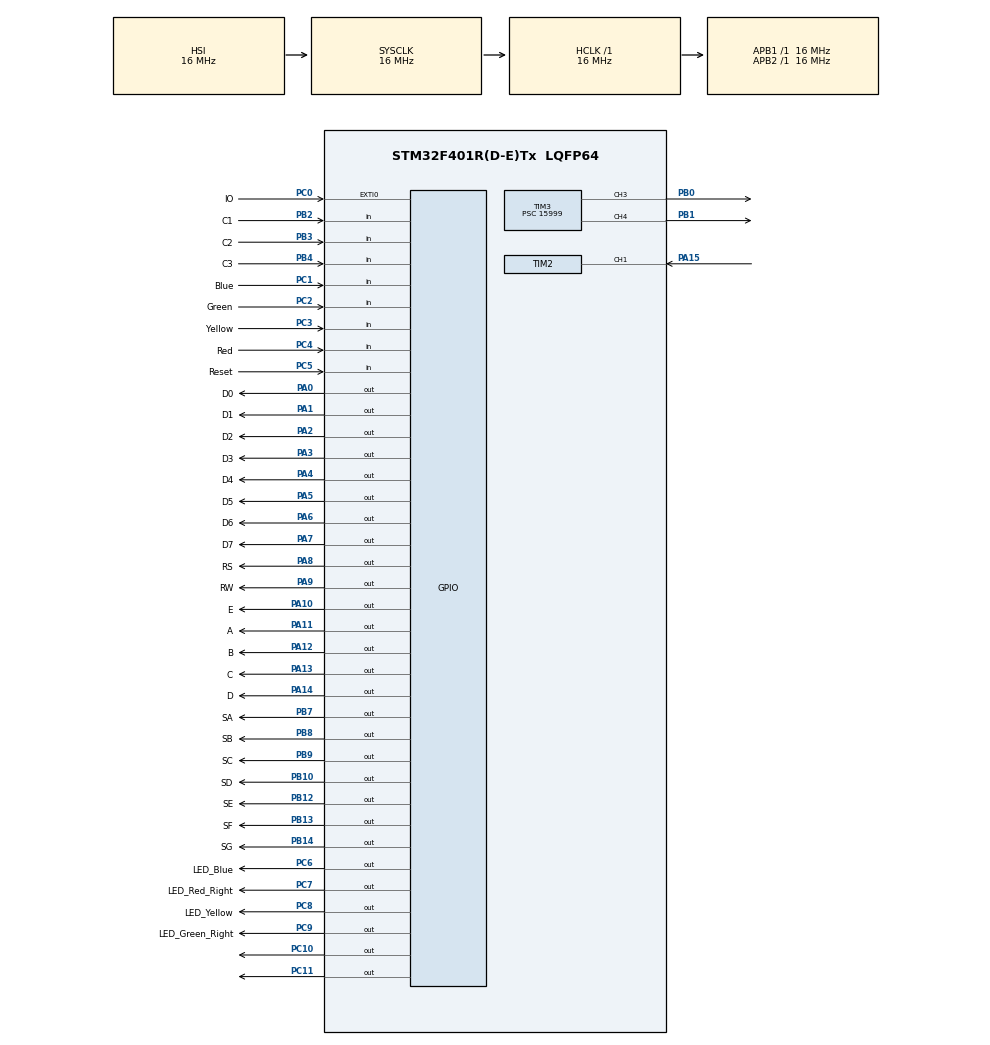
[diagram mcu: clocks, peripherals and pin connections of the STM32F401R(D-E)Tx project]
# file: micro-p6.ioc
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Mcu.Family=STM32F4
Mcu.Name=STM32F401R(D-E)Tx
Mcu.Package=LQFP64
NVIC.EXTI0_IRQn=true\:2\:0\:true\:false\:true\:true\:true\:true
NVIC.PriorityGroup=NVIC_PRIORITYGROUP_4
NVIC.TIM2_IRQn=true\:1\:0\:true\:false\:true\:true\:true\:true
NVIC.TIM3_IRQn=true\:0\:0\:true\:false\:true\:true\:true\:true
NVIC.TIM4_IRQn=true\:1\:0\:true\:false\:true\:true\:true\:true
PA0-WKUP.GPIO_Label=D0
PA0-WKUP.Signal=GPIO_Output
PA1.GPIO_Label=D1
PA1.Signal=GPIO_Output
PA10.GPIO_Label=E
PA10.Signal=GPIO_Output
PA11.GPIO_Label=A
PA11.Signal=GPIO_Output
PA12.GPIO_Label=B
PA12.Signal=GPIO_Output
PA13.GPIO_Label=C
PA13.Signal=GPIO_Output
PA14.GPIO_Label=D
PA14.Signal=GPIO_Output
PA15.GPIO_ModeDefaultPP=GPIO_MODE_AF_PP
PA15.GPIO_PuPd=GPIO_PULLDOWN
PA15.Signal=S_TIM2_CH1_ETR
PA2.GPIO_Label=D2
PA2.Signal=GPIO_Output
PA3.GPIO_Label=D3
PA3.Signal=GPIO_Output
PA4.GPIO_Label=D4
PA4.Signal=GPIO_Output
PA5.GPIO_Label=D5
PA5.Signal=GPIO_Output
PA6.GPIO_Label=D6
PA6.Signal=GPIO_Output
PA7.GPIO_Label=D7
PA7.Signal=GPIO_Output
PA8.GPIO_Label=RS
PA8.Signal=GPIO_Output
PA9.GPIO_Label=RW
PA9.Signal=GPIO_Output
PB0.GPIO_ModeDefaultPP=GPIO_MODE_AF_PP
PB0.GPIO_PuPd=GPIO_PULLDOWN
PB0.Signal=S_TIM3_CH3
PB1.GPIO_ModeDefaultPP=GPIO_MODE_AF_PP
PB1.GPIO_PuPd=GPIO_PULLDOWN
PB1.Signal=S_TIM3_CH4
PB10.GPIO_Label=SD
PB10.Signal=GPIO_Output
PB12.GPIO_Label=SE
PB12.Signal=GPIO_Output
PB13.GPIO_Label=SF
PB13.Signal=GPIO_Output
PB14.GPIO_Label=SG
PB14.Signal=GPIO_Output
PB2.GPIO_Label=C1
PB2.GPIO_PuPd=GPIO_PULLDOWN
PB2.Signal=GPIO_Input
PB3.GPIO_Label=C2
PB3.GPIO_PuPd=GPIO_PULLDOWN
PB3.Signal=GPIO_Input
PB4.GPIO_Label=C3
PB4.GPIO_PuPd=GPIO_PULLDOWN
PB4.Signal=GPIO_Input
PB7.GPIO_Label=SA
PB7.Signal=GPIO_Output
PB8.GPIO_Label=SB
PB8.Signal=GPIO_Output
PB9.GPIO_Label=SC
PB9.Signal=GPIO_Output
PC0.GPIO_Label=IO
PC0.GPIO_PuPd=GPIO_PULLDOWN
PC0.Signal=GPXTI0
PC1.GPIO_Label=Blue
PC1.GPIO_PuPd=GPIO_PULLDOWN
PC1.Signal=GPIO_Input
PC10.Signal=GPIO_Output
PC11.Signal=GPIO_Output
PC2.GPIO_Label=Green
PC2.GPIO_PuPd=GPIO_PULLDOWN
PC2.Signal=GPIO_Input
PC3.GPIO_Label=Yellow
PC3.GPIO_PuPd=GPIO_PULLDOWN
PC3.Signal=GPIO_Input
PC4.GPIO_Label=Red
PC4.GPIO_PuPd=GPIO_PULLDOWN
PC4.Signal=GPIO_Input
PC5.GPIO_Label=Reset
PC5.GPIO_PuPd=GPIO_NOPULL
PC5.Signal=GPIO_Input
PC6.GPIO_Label=LED_Blue
PC6.Signal=GPIO_Output
PC7.GPIO_Label=LED_Red_Right
PC7.Signal=GPIO_Output
PC8.GPIO_Label=LED_Yellow
PC8.Signal=GPIO_Output
PC9.GPIO_Label=LED_Green_Right
PC9.Signal=GPIO_Output
ProjectManager.HeapSize=0x200
ProjectManager.StackSize=0x400
ProjectManager.TargetToolchain=MDK-ARM V5.32
RCC.AHBFreq_Value=16000000
RCC.APB1Freq_Value=16000000
RCC.APB2Freq_Value=16000000
RCC.CortexFreq_Value=16000000
RCC.HSE_VALUE=25000000
RCC.HSI_VALUE=16000000
RCC.LSE_VALUE=32768
RCC.SYSCLKFreq_VALUE=16000000
RCC.VCOOutputFreq_Value=192000000
SH.S_TIM2_CH1_ETR.0=TIM2_CH1,Input_Capture1_from_TI1
SH.S_TIM3_CH3.0=TIM3_CH3,PWM Generation3 CH3
SH.S_TIM3_CH4.0=TIM3_CH4,PWM Generation4 CH4
TIM2.Channel-Input_Capture1_from_TI1=TIM_CHANNEL_1
TIM2.ICFilter_CH1=2
TIM2.ICPolarity_CH1=TIM_INPUTCHANNELPOLARITY_BOTHEDGE
TIM2.Period=999999
TIM2.Prescaler=15999
TIM3.Channel-PWM\ Generation3\ CH3=TIM_CHANNEL_3
TIM3.Channel-PWM\ Generation4\ CH4=TIM_CHANNEL_4
TIM3.Period=124
TIM3.Prescaler=15999
TIM3.Pulse-PWM\ Generation3\ CH3=60
TIM3.Pulse-PWM\ Generation4\ CH4=60
TIM4.Period=124
TIM4.Prescaler=15999
VP_TIM2_VS_ClockSourceINT.Mode=Internal
VP_TIM3_VS_ClockSourceINT.Mode=Internal
VP_TIM4_VS_ClockSourceINT.Mode=Internal
board=custom

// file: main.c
/* USER CODE BEGIN Header */
/**
  ******************************************************************************
  * @file           : main.c
  * @brief          : Main program body
  ******************************************************************************
  * @attention
  *
  * Copyright (c) 2022 STMicroelectronics.
  * All rights reserved.
  *
  * This software is licensed under terms that can be found in the LICENSE file
  * in the root directory of this software component.
  * If no LICENSE file comes with this software, it is provided AS-IS.
  *
  ******************************************************************************
  */
/* USER CODE END Header */
#include "main.h"

/* USER CODE BEGIN Includes */

#include <stdbool.h>
#include <time.h>
#include <stdlib.h>

//GPIOA  GPIOB  GPIOC
#define LED_GREEN_PWM (0)
#define LED_RED_PWM (1)
#define BLUE (1)
#define C1 (2)
#define  GREEN (2)
#define C2 (3)
#define  YELLOW (3)
#define C3 (4)
#define RED (4)
#define RESET (5)
#define LED_BLUE (6)
#define SA (7)
#define LED_GREEN (7)
#define SB (8)
#define LED_YELLOW (8)
#define RS (8)
#define SC (9)
#define LED_RED (9)
#define RW (9)
#define SD (10)
#define E  (10)
#define GREEN_PWM_ENABLE (10)
#define RED_PWM_ENABLE (11)
#define A (11)
#define SE (12)
#define B (12)
#define SF (13)
#define C (13)
#define SG (14)
#define D (14)
#define RESET_IC (15)
#define MASK(x)   (1UL << (x))

static bool printedEND_OF_GAMEType = false;
volatile static unsigned int zero_counter = 0;
const uint16_t timeOfGame = 60, numberOfAllowedMisses = 3;
enum State { START,
							PRINTING_NAME,
							RUNNING,
							END_OF_GAME };
enum END_OF_GAMEType {  PLAYING,
												WIN,
												LOOSE};
volatile enum State gameState = START;
volatile enum END_OF_GAMEType END_OF_GAMEType = PLAYING;
volatile char inputID[8] ,currentColor='b';
volatile uint16_t misses = 0, inputIDIndex = 0, remainingTime = timeOfGame, currentRow = 0;
char showingName[30];
uint32_t count = 0;
bool errorPassed = false;
uint32_t lastCaptured = 0;

void clearFirstLine();
int32_t charToInt(char ch);
char intToChar(int32_t digit);
void printInLine(char* string);
void printNum(int N);
void init_lcd();
void delay(uint16_t ms);
void commitCommand(unsigned char command);
void commitChar(char data);
uint16_t sevenSegment(uint16_t value);
void loose();
void win();

/* USER CODE END Includes */

 TIM_HandleTypeDef htim2;
TIM_HandleTypeDef htim3;
TIM_HandleTypeDef htim4;

void SystemClock_Config(void);
static void MX_GPIO_Init(void);
static void MX_TIM2_Init(void);
static void MX_TIM3_Init(void);
static void MX_TIM4_Init(void);

/* USER CODE BEGIN 0 */
uint16_t sevenSegment(uint16_t value) {
	if(value == 0){
		return MASK(SA) | MASK(SB) | MASK(SC) | MASK(SD) | MASK(SE) | MASK(SF);}
	else if (value==1){
		return MASK(SB) | MASK(SC);}
	else if (value==2){
		return MASK(SA) | MASK(SB) | MASK(SD) | MASK(SE) | MASK(SG);}
	else if (value==3){
		return MASK(SA) | MASK(SB) | MASK(SC) | MASK(SD) | MASK(SG);}
	else if (value==4){
		return MASK(SB) | MASK(SC) | MASK(SF) | MASK(SG);}
	else if (value==5){
		return MASK(SA) | MASK(SC) | MASK(SD) | MASK(SF) | MASK(SG);}
	else if (value==6){
		return MASK(SA) | MASK(SC) | MASK(SD) | MASK(SE) | MASK(SF) | MASK(SG);}
	else if (value==7){
		return MASK(SA) | MASK(SB) | MASK(SC);}
	else if (value== 8 ){
		return MASK(SA) | MASK(SB) | MASK(SC) | MASK(SD) | MASK(SE) | MASK(SF) | MASK(SG);}
	else if (value==9){
		return MASK(SA) | MASK(SB) | MASK(SC) | MASK(SD) | MASK(SF) | MASK(SG);}
	else{
		return MASK(SA) | MASK(SB) | MASK(SC) | MASK(SD) | MASK(SE) | MASK(SF);}
}
void clearFirstLine(){
	commitCommand(0x80);
	printInLine("                ");
}

void commitCommand(unsigned char command){  //Committing commands or chars

	HAL_GPIO_WritePin(GPIOA, 0xFF, GPIO_PIN_RESET);
	HAL_GPIO_WritePin(GPIOA, MASK(RS) | MASK(RW), GPIO_PIN_RESET);
	HAL_GPIO_WritePin(GPIOA, MASK(E) | command, GPIO_PIN_SET);
	HAL_GPIO_WritePin(GPIOA, MASK(E), GPIO_PIN_RESET);
	if(command < 4)
		delay(2);
	else
		delay(1);
}
void commitChar(char data){
	HAL_GPIO_WritePin(GPIOA, 0xFF | MASK(RW), GPIO_PIN_RESET);
	HAL_GPIO_WritePin(GPIOA, MASK(E) | MASK(RS) | data , GPIO_PIN_SET);
	HAL_GPIO_WritePin(GPIOA, MASK(E) , GPIO_PIN_RESET);
	delay(1);
}
void init_lcd(){ // turn on lcd
	commitCommand(0x0C);
	commitCommand(0x38);
}
void clearLEDs(){
	HAL_GPIO_WritePin(GPIOC, MASK(LED_GREEN) | MASK(LED_RED) |MASK(LED_YELLOW) | MASK(LED_BLUE) , GPIO_PIN_RESET);
}
void printInLine(char* string){
	while(*string != '\0'){
		char ch = (char) (*string);
		commitChar(ch);
		string++;
	}
	commitCommand(0x80);
}

int32_t charToInt(char ch){
	if(ch=='0'){
		return 0;
	}
	if(ch=='1'){
		return 1;
	}
	if(ch=='2'){
		return 2;
	}
	if(ch=='3'){
		return 3;
	}
	if(ch=='4'){
		return 4;
	}
	if(ch=='5'){
		return 5;
	}
	if(ch=='6'){
		return 6;
	}
	if(ch=='7'){
		return 7;
	}
	if(ch=='8'){
		return 8;
	}
	if(ch=='9'){
		return 9;
	}
	return 0;
}

char intToChar(int32_t dig){

	if(dig==0){
		return '0';
	}
	if(dig==1){
		return '1';
	}
	if(dig==2){
		return '2';
	}
	if(dig==3){
		return '3';
	}
	if(dig==4){
		return '4';
	}
	if(dig==5){
		return '5';
	}
	if(dig==6){
		return '6';
	}
	if(dig==7){
		return '7';
	}
	if(dig==8){
		return '8';
	}
	if(dig==9){
		return '9';
	}
	return '0';
}

void delay(uint16_t n){  // Make Delay
    for(int i = 0; i < n; i++){
			for(int j = 0; j < 200 ;j++);
		}
}
void delayms(uint16_t ms){
	uint32_t start = HAL_GetTick();
	while( (HAL_GetTick() - start) < ms);
}

 int reverse( int a){
	long long int reversed = 0;
	zero_counter = 0;
	while(a % 10 == 0){
		a/=10;
		zero_counter++;
	}
	for(;a > 0;a/=10){
			reversed*=10;
			reversed+=a%10;
		}
	return reversed;
}

void printNum(int num){
	if(num==0){
		commitChar('0');
		return;
	}else if(num < 0){
		commitChar('-');
		num *= -1;

	}
	int reversedNumber= reverse(num);
	for(;reversedNumber > 0;reversedNumber/=10){
				commitChar(reversedNumber%10 + '0');
		}
		while(zero_counter > 0){
				commitChar('0');
				zero_counter--;
		}
}
void setName(char* name){
	  uint16_t index = 0;
		while(*name != '\0'){
		showingName[index++] = (char) (*name);
		name++;
	}
}
char clickKeyPadBtn(){
		if( HAL_GPIO_ReadPin( GPIOB, MASK(C1)) == GPIO_PIN_SET) {
			while(( HAL_GPIO_ReadPin( GPIOB, MASK(C1)) == GPIO_PIN_SET));
			switch(currentRow) {
				case 0:
					return '1';
				case 1:
					return '4';
				case 2:
					return '7';
				case 3:
					return '*';
				default:
					return '!';
			}
		}
		else if(HAL_GPIO_ReadPin( GPIOB, MASK(C2)) == GPIO_PIN_SET){
			while(( HAL_GPIO_ReadPin( GPIOB, MASK(C2)) == GPIO_PIN_SET));
			switch(currentRow) {
				case 0:
					return '2';
				case 1:
					return '5';
				case 2:
					return '8';
				case 3:
					return '0';
				default:
					return '!';
			}
		}
		else if(HAL_GPIO_ReadPin( GPIOB, MASK(C3)) == GPIO_PIN_SET){
			while(( HAL_GPIO_ReadPin( GPIOB, MASK(C3)) == GPIO_PIN_SET));
			switch(currentRow) {
				case 0:
					return '3';
				case 1:
					return '6';
				case 2:
					return '9';
				case 3:
					return '#';
				default:
					return '!';
			}
		}
		else { // RESET has been clicked
			if (HAL_GPIO_ReadPin( GPIOC, MASK(RESET)) == GPIO_PIN_SET){
					uint32_t start = HAL_GetTick();
					uint32_t delay = 300;
					bool long_push = true;
					while( (HAL_GetTick() - start) < delay){
							if(HAL_GPIO_ReadPin( GPIOC, MASK(RESET)) == GPIO_PIN_RESET){
								long_push = false;
								break;
							}

						if(!long_push)
							break;
					}

					if(long_push)
						return 'l';
					else
						return 'e';

			}

		}
}

// reset all program states & vars.
void resetTheProgram(){
	END_OF_GAMEType = PLAYING;
	HAL_TIM_PWM_Stop(&htim3, TIM_CHANNEL_4);
	HAL_TIM_PWM_Stop(&htim3, TIM_CHANNEL_3);
	HAL_GPIO_WritePin(GPIOC, MASK(RED_PWM_ENABLE), GPIO_PIN_RESET);
	HAL_GPIO_WritePin(GPIOC, MASK(GREEN_PWM_ENABLE), GPIO_PIN_RESET);
	gameState = START;
	clearFirstLine();
	clearLEDs();
	remainingTime = timeOfGame;
	misses= count= inputIDIndex = 0;
	//Show misses
	HAL_GPIO_WritePin( GPIOB, 0xFF << 7, GPIO_PIN_RESET);
	HAL_GPIO_WritePin( GPIOB, sevenSegment(misses), GPIO_PIN_SET);

	commitCommand(0x80);
	MX_TIM3_Init();
	HAL_TIM_Base_Start_IT(&htim3);
}

void showColor(char color){
	if(color == 'g'){ // show green color on leds.
			HAL_GPIO_WritePin(GPIOC, MASK(LED_BLUE) | MASK(LED_RED) |MASK(LED_YELLOW) , GPIO_PIN_RESET);
			HAL_GPIO_WritePin(GPIOC, MASK(LED_GREEN), GPIO_PIN_SET);
	}else if(color == 'y'){// show yellow color on leds.
			HAL_GPIO_WritePin(GPIOC, MASK(LED_BLUE) | MASK(LED_RED) |MASK(LED_GREEN) , GPIO_PIN_RESET);
			HAL_GPIO_WritePin(GPIOC, MASK(LED_YELLOW), GPIO_PIN_SET);
	}else if(color == 'b'){// show blue color on leds.
			HAL_GPIO_WritePin(GPIOC, MASK(LED_GREEN) | MASK(LED_RED) |MASK(LED_YELLOW) , GPIO_PIN_RESET);
			HAL_GPIO_WritePin(GPIOC, MASK(LED_BLUE), GPIO_PIN_SET);
	}else if (color =='r'){// show red color on leds.
			HAL_GPIO_WritePin(GPIOC, MASK(LED_BLUE) | MASK(LED_GREEN) |MASK(LED_YELLOW) , GPIO_PIN_RESET);
			HAL_GPIO_WritePin(GPIOC, MASK(LED_RED), GPIO_PIN_SET);
	}
}

char clickedLED(){
	if( HAL_GPIO_ReadPin( GPIOC, MASK(BLUE)) == GPIO_PIN_SET)
		return 'b';
	else if (HAL_GPIO_ReadPin( GPIOC, MASK(GREEN)) == GPIO_PIN_SET)
		return 'r';
	else if (HAL_GPIO_ReadPin( GPIOC, MASK(YELLOW)) == GPIO_PIN_SET)
		return 'y';
	else if (HAL_GPIO_ReadPin( GPIOC, MASK(RED)) == GPIO_PIN_SET)
		return 'g';
}

char generateRandomColor(){
	int val = (int) rand() % 4;
	int val2 = 0;
	switch(currentColor){
		case 'b':
			val2 = 0;break;
		case 'y':
			val2 = 1;break;
		case 'g' :
			val2 = 2;break;
		case 'r':
			val2 = 3;break;
	}
	if(val == val2){ // Different color
		val = (val+1) % 4;
	}
	switch(val){
		case 0:
			currentColor= 'b';break;
		case 1:
			currentColor= 'y';break;
		case 2:
			currentColor= 'g'; break;
		case 3:
			currentColor= 'r';break;
	}
	return currentColor;
}

void checkingAndShowStatus(uint16_t delayms){
	if( gameState != RUNNING)
		return;
	bool passed = false;
	char rand = generateRandomColor();
	showColor(rand);
	uint32_t start = HAL_GetTick();
	while( (HAL_GetTick() - start) < delayms){
		if(clickedLED() == rand)
			passed = true;
	}
	if(!passed){
		misses++;

		//show misses
		HAL_GPIO_WritePin( GPIOB, 0xFF << 7, GPIO_PIN_RESET);
		HAL_GPIO_WritePin( GPIOB, sevenSegment(misses), GPIO_PIN_SET);

		if(misses >= numberOfAllowedMisses){
			loose();
		}
	}
}

void runGame(){
	checkingAndShowStatus(3000/8);
	checkingAndShowStatus(3000/8);
	checkingAndShowStatus(3000/8);
	checkingAndShowStatus(2000/8);
	checkingAndShowStatus(2000/8);
	checkingAndShowStatus(2000/8);
	uint16_t delay = 1000;
		while(time>0) {
			if(gameState != RUNNING)
				break;
			for(int i=0; i < 10; i++)
				checkingAndShowStatus(delay/8);
			delay -= 100;
		}
}

void HAL_GPIO_EXTI_Callback(uint16_t GPIO_Pin){
	if(GPIO_PIN_0) {
			char clickedButton = clickKeyPadBtn();
			if( gameState != START ){
				if(clickedButton == '1' || clickedButton == '*')
					resetTheProgram();
			}
			else{
				if( clickedButton != 'e')
					inputID[inputIDIndex++] = clickedButton;
				if(inputIDIndex == 8){
					clearFirstLine();
					commitCommand(0x80);
					if(inputID[0] == '9' && inputID[1] == '7'
						&& inputID[2] == '2' && inputID[3] == '4'
						&& inputID[4] == '3'&& inputID[5] == '0'
						&& inputID[6] == '6' && inputID[7] == '3')
						setName("Moradi Jam");
				  else if(inputID[0] == '9' && inputID[1] == '8'
									&& inputID[2] == '2' && inputID[3] == '4'
									&& inputID[4] == '3' && inputID[5] == '0'
									&& inputID[6] == '5' && inputID[7] == '8')
						setName("Mousavi");

					gameState = PRINTING_NAME;
				}
				else if( clickedButton != 'e')
						commitChar(clickedButton);

			}
	}
}

void win(){
	if(END_OF_GAMEType == LOOSE)
		return;
	END_OF_GAMEType = WIN;
	clearLEDs();
	gameState = END_OF_GAME;
	HAL_TIM_PWM_Start(&htim3, TIM_CHANNEL_4);
	HAL_GPIO_WritePin(GPIOC, MASK(GREEN_PWM_ENABLE), GPIO_PIN_SET);
	clearFirstLine();
	//printInLine("Winner");
}

void loose(){
	if(END_OF_GAMEType == WIN)
		return;
	END_OF_GAMEType = LOOSE;
	clearLEDs();
	gameState = END_OF_GAME;
	HAL_TIM_PWM_Start(&htim3, TIM_CHANNEL_3);
	HAL_GPIO_WritePin(GPIOC, MASK(RED_PWM_ENABLE), GPIO_PIN_SET);
	clearFirstLine();
	//printInLine("Looser");
}

void HAL_TIM_PeriodElapsedCallback(TIM_HandleTypeDef *htim){
	// decrementing time and checking win-conditions
	if( htim->Instance == TIM3){
		if( gameState == RUNNING) {
			clearFirstLine();
			remainingTime--;
			if(remainingTime >0){
				printNum(remainingTime);
			}
			else {
				if(misses == numberOfAllowedMisses )
						loose();
				else
						win();
			}
		} else if(gameState == END_OF_GAME){
      if(END_OF_GAMEType == WIN){
        if(printedEND_OF_GAMEType)
					clearFirstLine();
				else
					printInLine("Winner");
				printedEND_OF_GAMEType = !printedEND_OF_GAMEType;
      }else{
        if(printedEND_OF_GAMEType)
        clearFirstLine();
      else
        printInLine("Looser");
      printedEND_OF_GAMEType = !printedEND_OF_GAMEType;
      }
    }
	}

	// for toggling name
	if( htim->Instance == TIM4) {
		if( gameState == PRINTING_NAME){
			static bool printed = false;
			if(printed)
				clearFirstLine();
			else
				printInLine(showingName);
			printed = !printed;
		}
	}

}

void HAL_TIM_IC_CaptureCallback(TIM_HandleTypeDef *htim){
	if( !errorPassed){
		errorPassed = true;
		return;
	}
	if( gameState != PRINTING_NAME)
		return;

	count++;
	// first and third edges (rising)
	if(count == 1 ){
		lastCaptured = HAL_TIM_ReadCapturedValue(htim, TIM_CHANNEL_1);
	}
	// second edge  (falling)
	else if(count == 2){
		uint32_t currentCaptured = HAL_TIM_ReadCapturedValue(htim, TIM_CHANNEL_1);
		if( currentCaptured - lastCaptured < 2000/16)
			count = 0;
			lastCaptured = 0;
	}
	else if(count == 3){
		lastCaptured = HAL_TIM_ReadCapturedValue(htim, TIM_CHANNEL_1);
	}
	// check wether appropriate pulse has been seen or not.
	else if(count == 4) {
		uint32_t currentCaptured = HAL_TIM_ReadCapturedValue(htim, TIM_CHANNEL_1);
		if( currentCaptured - lastCaptured >= 2000/16)
		 {
			count = 0;
			currentRow = 3;
			lastCaptured = 0;
			gameState = RUNNING;
			HAL_GPIO_WritePin(GPIOA, MASK(D), GPIO_PIN_SET);
			HAL_GPIO_WritePin(GPIOA, MASK(A)|MASK(B)|MASK(C) , GPIO_PIN_RESET);
			remainingTime = timeOfGame;
			runGame();
		}
		else
			count = 0;
			lastCaptured = 0;
	}

}

/* USER CODE END 0 */

int main(void)
{

  /* MCU Configuration--------------------------------------------------------*/

  /* Reset of all peripherals, Initializes the Flash interface and the Systick. */
  HAL_Init();

  /* Configure the system clock */
  SystemClock_Config();

  /* Initialize all configured peripherals */
  MX_GPIO_Init();
  MX_TIM2_Init();
  MX_TIM3_Init();
  MX_TIM4_Init();
  /* USER CODE BEGIN 2 */
			init_lcd();
		HAL_NVIC_SetPriority(SysTick_IRQn, 0, 0);
		HAL_TIM_IC_Start_IT(&htim2, TIM_CHANNEL_1);
		HAL_TIM_Base_Start_IT(&htim2);
		HAL_TIM_Base_Start_IT(&htim3);
		HAL_TIM_Base_Start_IT(&htim4);

		HAL_GPIO_WritePin( GPIOB, sevenSegment(misses), GPIO_PIN_SET);
		uint16_t rows[] = { A, B, C, D};
  /* USER CODE END 2 */

  /* Infinite loop */
  /* USER CODE BEGIN WHILE */
  while (1)
  {
		HAL_GPIO_WritePin(GPIOA, MASK(rows[currentRow]), GPIO_PIN_RESET);
		currentRow = (currentRow+1)% 4;
		HAL_GPIO_WritePin(GPIOA, MASK(rows[currentRow]), GPIO_PIN_SET);
		delay(180);
    /* USER CODE END WHILE */

  }
}

void SystemClock_Config(void)
{
  RCC_OscInitTypeDef RCC_OscInitStruct = {0};
  RCC_ClkInitTypeDef RCC_ClkInitStruct = {0};

  /** Configure the main internal regulator output voltage
  */
  __HAL_RCC_PWR_CLK_ENABLE();
  __HAL_PWR_VOLTAGESCALING_CONFIG(PWR_REGULATOR_VOLTAGE_SCALE2);

  /** Initializes the RCC Oscillators according to the specified parameters
  * in the RCC_OscInitTypeDef structure.
  */
  RCC_OscInitStruct.OscillatorType = RCC_OSCILLATORTYPE_HSI;
  RCC_OscInitStruct.HSIState = RCC_HSI_ON;
  RCC_OscInitStruct.HSICalibrationValue = RCC_HSICALIBRATION_DEFAULT;
  RCC_OscInitStruct.PLL.PLLState = RCC_PLL_NONE;
  if (HAL_RCC_OscConfig(&RCC_OscInitStruct) != HAL_OK)
  {
    Error_Handler();
  }

  /** Initializes the CPU, AHB and APB buses clocks
  */
  RCC_ClkInitStruct.ClockType = RCC_CLOCKTYPE_HCLK|RCC_CLOCKTYPE_SYSCLK
                              |RCC_CLOCKTYPE_PCLK1|RCC_CLOCKTYPE_PCLK2;
  RCC_ClkInitStruct.SYSCLKSource = RCC_SYSCLKSOURCE_HSI;
  RCC_ClkInitStruct.AHBCLKDivider = RCC_SYSCLK_DIV1;
  RCC_ClkInitStruct.APB1CLKDivider = RCC_HCLK_DIV1;
  RCC_ClkInitStruct.APB2CLKDivider = RCC_HCLK_DIV1;

  if (HAL_RCC_ClockConfig(&RCC_ClkInitStruct, FLASH_LATENCY_0) != HAL_OK)
  {
    Error_Handler();
  }
}

static void MX_TIM2_Init(void)
{

  TIM_ClockConfigTypeDef sClockSourceConfig = {0};
  TIM_MasterConfigTypeDef sMasterConfig = {0};
  TIM_IC_InitTypeDef sConfigIC = {0};

  htim2.Instance = TIM2;
  htim2.Init.Prescaler = 15999;
  htim2.Init.CounterMode = TIM_COUNTERMODE_UP;
  htim2.Init.Period = 999999;
  htim2.Init.ClockDivision = TIM_CLOCKDIVISION_DIV1;
  htim2.Init.AutoReloadPreload = TIM_AUTORELOAD_PRELOAD_DISABLE;
  if (HAL_TIM_Base_Init(&htim2) != HAL_OK)
  {
    Error_Handler();
  }
  sClockSourceConfig.ClockSource = TIM_CLOCKSOURCE_INTERNAL;
  if (HAL_TIM_ConfigClockSource(&htim2, &sClockSourceConfig) != HAL_OK)
  {
    Error_Handler();
  }
  if (HAL_TIM_IC_Init(&htim2) != HAL_OK)
  {
    Error_Handler();
  }
  sMasterConfig.MasterOutputTrigger = TIM_TRGO_RESET;
  sMasterConfig.MasterSlaveMode = TIM_MASTERSLAVEMODE_DISABLE;
  if (HAL_TIMEx_MasterConfigSynchronization(&htim2, &sMasterConfig) != HAL_OK)
  {
    Error_Handler();
  }
  sConfigIC.ICPolarity = TIM_INPUTCHANNELPOLARITY_BOTHEDGE;
  sConfigIC.ICSelection = TIM_ICSELECTION_DIRECTTI;
  sConfigIC.ICPrescaler = TIM_ICPSC_DIV1;
  sConfigIC.ICFilter = 2;
  if (HAL_TIM_IC_ConfigChannel(&htim2, &sConfigIC, TIM_CHANNEL_1) != HAL_OK)
  {
    Error_Handler();
  }

}

static void MX_TIM3_Init(void)
{

  TIM_ClockConfigTypeDef sClockSourceConfig = {0};
  TIM_MasterConfigTypeDef sMasterConfig = {0};
  TIM_OC_InitTypeDef sConfigOC = {0};

  htim3.Instance = TIM3;
  htim3.Init.Prescaler = 15999;
  htim3.Init.CounterMode = TIM_COUNTERMODE_UP;
  htim3.Init.Period = 124;
  htim3.Init.ClockDivision = TIM_CLOCKDIVISION_DIV1;
  htim3.Init.AutoReloadPreload = TIM_AUTORELOAD_PRELOAD_DISABLE;
  if (HAL_TIM_Base_Init(&htim3) != HAL_OK)
  {
    Error_Handler();
  }
  sClockSourceConfig.ClockSource = TIM_CLOCKSOURCE_INTERNAL;
  if (HAL_TIM_ConfigClockSource(&htim3, &sClockSourceConfig) != HAL_OK)
  {
    Error_Handler();
  }
  if (HAL_TIM_PWM_Init(&htim3) != HAL_OK)
  {
    Error_Handler();
  }
  sMasterConfig.MasterOutputTrigger = TIM_TRGO_RESET;
  sMasterConfig.MasterSlaveMode = TIM_MASTERSLAVEMODE_DISABLE;
  if (HAL_TIMEx_MasterConfigSynchronization(&htim3, &sMasterConfig) != HAL_OK)
  {
    Error_Handler();
  }
  sConfigOC.OCMode = TIM_OCMODE_PWM1;
  sConfigOC.Pulse = 60;
  sConfigOC.OCPolarity = TIM_OCPOLARITY_HIGH;
  sConfigOC.OCFastMode = TIM_OCFAST_DISABLE;
  if (HAL_TIM_PWM_ConfigChannel(&htim3, &sConfigOC, TIM_CHANNEL_3) != HAL_OK)
  {
    Error_Handler();
  }
  if (HAL_TIM_PWM_ConfigChannel(&htim3, &sConfigOC, TIM_CHANNEL_4) != HAL_OK)
  {
    Error_Handler();
  }
  HAL_TIM_MspPostInit(&htim3);

}

static void MX_TIM4_Init(void)
{

  TIM_ClockConfigTypeDef sClockSourceConfig = {0};
  TIM_MasterConfigTypeDef sMasterConfig = {0};

  htim4.Instance = TIM4;
  htim4.Init.Prescaler = 15999;
  htim4.Init.CounterMode = TIM_COUNTERMODE_UP;
  htim4.Init.Period = 124;
  htim4.Init.ClockDivision = TIM_CLOCKDIVISION_DIV1;
  htim4.Init.AutoReloadPreload = TIM_AUTORELOAD_PRELOAD_DISABLE;
  if (HAL_TIM_Base_Init(&htim4) != HAL_OK)
  {
    Error_Handler();
  }
  sClockSourceConfig.ClockSource = TIM_CLOCKSOURCE_INTERNAL;
  if (HAL_TIM_ConfigClockSource(&htim4, &sClockSourceConfig) != HAL_OK)
  {
    Error_Handler();
  }
  sMasterConfig.MasterOutputTrigger = TIM_TRGO_RESET;
  sMasterConfig.MasterSlaveMode = TIM_MASTERSLAVEMODE_DISABLE;
  if (HAL_TIMEx_MasterConfigSynchronization(&htim4, &sMasterConfig) != HAL_OK)
  {
    Error_Handler();
  }

}

static void MX_GPIO_Init(void)
{
  GPIO_InitTypeDef GPIO_InitStruct = {0};

  /* GPIO Ports Clock Enable */
  __HAL_RCC_GPIOC_CLK_ENABLE();
  __HAL_RCC_GPIOA_CLK_ENABLE();
  __HAL_RCC_GPIOB_CLK_ENABLE();

  /*Configure GPIO pin Output Level */
  HAL_GPIO_WritePin(GPIOA, D0_Pin|D1_Pin|D2_Pin|D3_Pin
                          |D4_Pin|D5_Pin|D6_Pin|D7_Pin
                          |RS_Pin|RW_Pin|E_Pin|A_Pin
                          |B_Pin|C_Pin|D_Pin, GPIO_PIN_RESET);

  /*Configure GPIO pin Output Level */
  HAL_GPIO_WritePin(GPIOB, SD_Pin|SE_Pin|SF_Pin|SG_Pin
                          |SA_Pin|SB_Pin|SC_Pin, GPIO_PIN_RESET);

  /*Configure GPIO pin Output Level */
  HAL_GPIO_WritePin(GPIOC, LED_Blue_Pin|LED_Red_Right_Pin|LED_Yellow_Pin|LED_Green_Right_Pin
                          |GPIO_PIN_10|GPIO_PIN_11, GPIO_PIN_RESET);

  /*Configure GPIO pin : IO_Pin */
  GPIO_InitStruct.Pin = IO_Pin;
  GPIO_InitStruct.Mode = GPIO_MODE_IT_RISING;
  GPIO_InitStruct.Pull = GPIO_PULLDOWN;
  HAL_GPIO_Init(IO_GPIO_Port, &GPIO_InitStruct);

  /*Configure GPIO pins : Blue_Pin Green_Pin Yellow_Pin Red_Pin */
  GPIO_InitStruct.Pin = Blue_Pin|Green_Pin|Yellow_Pin|Red_Pin;
  GPIO_InitStruct.Mode = GPIO_MODE_INPUT;
  GPIO_InitStruct.Pull = GPIO_PULLDOWN;
  HAL_GPIO_Init(GPIOC, &GPIO_InitStruct);

  /*Configure GPIO pins : D0_Pin D1_Pin D2_Pin D3_Pin
                           D4_Pin D5_Pin D6_Pin D7_Pin
                           RS_Pin RW_Pin E_Pin A_Pin
                           B_Pin C_Pin D_Pin */
  GPIO_InitStruct.Pin = D0_Pin|D1_Pin|D2_Pin|D3_Pin
                          |D4_Pin|D5_Pin|D6_Pin|D7_Pin
                          |RS_Pin|RW_Pin|E_Pin|A_Pin
                          |B_Pin|C_Pin|D_Pin;
  GPIO_InitStruct.Mode = GPIO_MODE_OUTPUT_PP;
  GPIO_InitStruct.Pull = GPIO_NOPULL;
  GPIO_InitStruct.Speed = GPIO_SPEED_FREQ_LOW;
  HAL_GPIO_Init(GPIOA, &GPIO_InitStruct);

  /*Configure GPIO pin : Reset_Pin */
  GPIO_InitStruct.Pin = Reset_Pin;
  GPIO_InitStruct.Mode = GPIO_MODE_INPUT;
  GPIO_InitStruct.Pull = GPIO_NOPULL;
  HAL_GPIO_Init(Reset_GPIO_Port, &GPIO_InitStruct);

  /*Configure GPIO pins : C1_Pin C2_Pin C3_Pin */
  GPIO_InitStruct.Pin = C1_Pin|C2_Pin|C3_Pin;
  GPIO_InitStruct.Mode = GPIO_MODE_INPUT;
  GPIO_InitStruct.Pull = GPIO_PULLDOWN;
  HAL_GPIO_Init(GPIOB, &GPIO_InitStruct);

  /*Configure GPIO pins : SD_Pin SE_Pin SF_Pin SG_Pin
                           SA_Pin SB_Pin SC_Pin */
  GPIO_InitStruct.Pin = SD_Pin|SE_Pin|SF_Pin|SG_Pin
                          |SA_Pin|SB_Pin|SC_Pin;
  GPIO_InitStruct.Mode = GPIO_MODE_OUTPUT_PP;
  GPIO_InitStruct.Pull = GPIO_NOPULL;
  GPIO_InitStruct.Speed = GPIO_SPEED_FREQ_LOW;
  HAL_GPIO_Init(GPIOB, &GPIO_InitStruct);

  /*Configure GPIO pins : LED_Blue_Pin LED_Red_Right_Pin LED_Yellow_Pin LED_Green_Right_Pin
                           PC10 PC11 */
  GPIO_InitStruct.Pin = LED_Blue_Pin|LED_Red_Right_Pin|LED_Yellow_Pin|LED_Green_Right_Pin
                          |GPIO_PIN_10|GPIO_PIN_11;
  GPIO_InitStruct.Mode = GPIO_MODE_OUTPUT_PP;
  GPIO_InitStruct.Pull = GPIO_NOPULL;
  GPIO_InitStruct.Speed = GPIO_SPEED_FREQ_LOW;
  HAL_GPIO_Init(GPIOC, &GPIO_InitStruct);

  /* EXTI interrupt init*/
  HAL_NVIC_SetPriority(EXTI0_IRQn, 2, 0);
  HAL_NVIC_EnableIRQ(EXTI0_IRQn);

}

void Error_Handler(void)
{
  __disable_irq();
  while (1)
  {
  }
}
